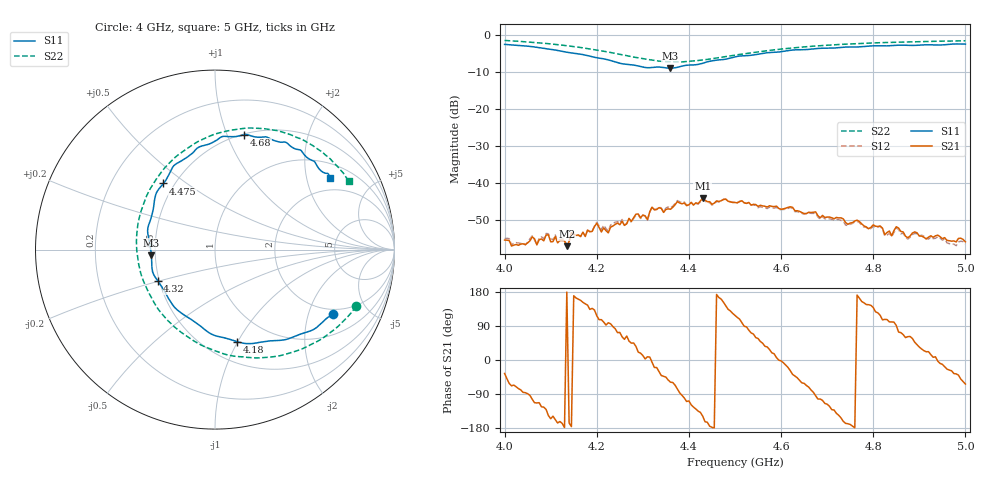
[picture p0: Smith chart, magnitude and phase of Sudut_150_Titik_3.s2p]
# Hz S RI R 50
! CMT, C1220, 16058040, 17.2.0/1
! Date: 15/08/2018 12:39:10
! Data: Format (Calibration Info)
! Freq  S11: Re/Im (F2)  S21: Re/Im (F2)  S12: Re/Im (F2)  S22: Re/Im (F2)
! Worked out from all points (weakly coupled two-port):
!   201 points, 4 GHz to 5 GHz, reference 50 ohm
!   highest |S21| = -44.19 dB at 4.43 GHz (marker M1); lowest = -57.2 dB at 4.135 GHz (marker M2)
!   lowest |S11| = -9.0 dB at 4.36 GHz (marker M3), VSWR 2.10, Z = 23.8 - j1.67 ohm
!   |S11| at or under -10 dB: nowhere
!   |S22| runs from -7.3 to -1.4 dB; largest |S21 - S12| = 0.00032
!   S11 on the Smith chart (normalised r, x): 4 GHz: 1.79, -2.92; 4.18 GHz: 0.70, -1.00; 4.32 GHz: 0.49, -0.20; 4.475 GHz: 0.44, +0.41; 4.68 GHz: 0.51, +1.15; 5 GHz: 1.48, +2.76
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4e9  0.6579 -0.3586  0.00136 -0.000967  0.00146 -0.00096  0.7862 -0.3151
4.045e9  0.566 -0.4342  9.28e-05 -0.00144  0.000131 -0.00143  0.6989 -0.415
4.06e9  0.531 -0.4532  -0.000435 -0.00179  -0.00035 -0.00187  0.6652 -0.4449
4.07e9  0.5043 -0.4617  -0.000567 -0.00132  -0.000507 -0.00135  0.6395 -0.4644
4.095e9  0.424 -0.4916  -0.00164 -0.00108  -0.00165 -0.00119  0.5703 -0.5114
4.135e9  0.2894 -0.5109  -0.00138 2.27e-05  -0.00141 6.89e-05  0.4379 -0.5694
4.145e9  0.249 -0.5166  -0.00208 -0.000156  -0.00209 -0.00012  0.4002 -0.5811
4.17e9  0.1566 -0.5214  -0.00188 0.000996  -0.00189 0.000926  0.3047 -0.5993
4.18e9  0.1237 -0.5132  -0.00186 0.00131  -0.0019 0.00124  0.2626 -0.6019
4.225e9  -0.0374 -0.4606  -0.000297 0.00207  -0.000352 0.00217  0.0677 -0.5863
4.285e9  -0.2366 -0.307  0.00303 0.0022  0.00297 0.00206  -0.1883 -0.461
4.31e9  -0.2932 -0.2118  0.00312 0.000465  0.00302 0.000565  -0.2793 -0.3768
4.32e9  -0.3196 -0.1748  0.00462 -0.000495  0.0047 -0.000408  -0.3127 -0.3372
4.335e9  -0.3474 -0.125  0.00395 -0.00233  0.00404 -0.00237  -0.3528 -0.2706
4.36e9  -0.3543 -0.0307  0.00227 -0.00372  0.00237 -0.00387  -0.4071 -0.1536
4.43e9  -0.3422 0.2353  -0.00526 -0.00323  -0.00516 -0.00295  -0.4181 0.1924
4.475e9  -0.2882 0.3686  -0.00526 0.00275  -0.00523 0.00278  -0.3373 0.3762
4.5e9  -0.2425 0.4464  -0.0025 0.00477  -0.00251 0.00483  -0.2774 0.4584
4.67e9  0.1435 0.6349  0.000337 -0.00395  0.000216 -0.00383  0.2061 0.6774
4.68e9  0.1612 0.6401  -0.000806 -0.00347  -0.000789 -0.00332  0.2329 0.676
4.835e9  0.447 0.561  -0.000404 0.00217  -0.000371 0.00202  0.5513 0.5749
5e9  0.6401 0.4006  0.000705 -0.00141  0.000759 -0.00126  0.7466 0.3815
